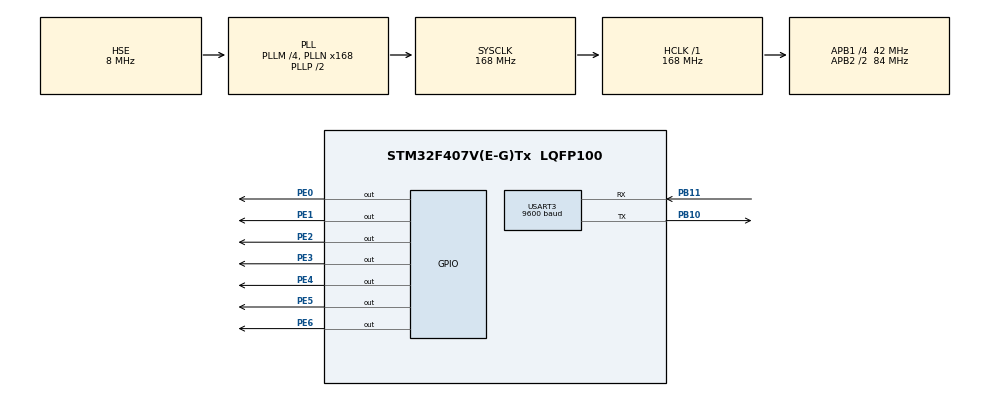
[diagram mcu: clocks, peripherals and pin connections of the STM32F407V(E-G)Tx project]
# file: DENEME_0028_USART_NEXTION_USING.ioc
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Mcu.Family=STM32F4
Mcu.Name=STM32F407V(E-G)Tx
Mcu.Package=LQFP100
NVIC.PriorityGroup=NVIC_PRIORITYGROUP_4
PB10.Mode=Asynchronous
PB10.Signal=USART3_TX
PB11.Mode=Asynchronous
PB11.Signal=USART3_RX
PE0.Signal=GPIO_Output
PE1.Signal=GPIO_Output
PE2.Signal=GPIO_Output
PE3.Signal=GPIO_Output
PE4.Signal=GPIO_Output
PE5.Signal=GPIO_Output
PE6.Signal=GPIO_Output
PH0-OSC_IN.Mode=HSE-External-Oscillator
PH0-OSC_IN.Signal=RCC_OSC_IN
PH1-OSC_OUT.Mode=HSE-External-Oscillator
PH1-OSC_OUT.Signal=RCC_OSC_OUT
ProjectManager.HeapSize=0x200
ProjectManager.StackSize=0x400
ProjectManager.TargetToolchain=STM32CubeIDE
RCC.48MHZClocksFreq_Value=84000000
RCC.AHBFreq_Value=168000000
RCC.APB1CLKDivider=RCC_HCLK_DIV4
RCC.APB1Freq_Value=42000000
RCC.APB1TimFreq_Value=84000000
RCC.APB2CLKDivider=RCC_HCLK_DIV2
RCC.APB2Freq_Value=84000000
RCC.APB2TimFreq_Value=168000000
RCC.CortexFreq_Value=168000000
RCC.HCLKFreq_Value=168000000
RCC.HSE_VALUE=8000000
RCC.HSI_VALUE=16000000
RCC.LSE_VALUE=32768
RCC.PLLM=4
RCC.PLLN=168
RCC.PLLSourceVirtual=RCC_PLLSOURCE_HSE
RCC.SYSCLKFreq_VALUE=168000000
RCC.SYSCLKSource=RCC_SYSCLKSOURCE_PLLCLK
RCC.VCOOutputFreq_Value=336000000
USART3.BaudRate=9600
USART3.VirtualMode=VM_ASYNC
board=custom

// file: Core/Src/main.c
/* USER CODE BEGIN Header */
/**
  ******************************************************************************
  * @file           : main.c
  * @brief          : Main program body
  ******************************************************************************
  * @attention
  *
  * <h2><center>&copy; Copyright (c) 2021 STMicroelectronics.
  * All rights reserved.</center></h2>
  *
  * This software component is licensed by ST under BSD 3-Clause license,
  * the "License"; You may not use this file except in compliance with the
  * License. You may obtain a copy of the License at:
  *                        opensource.org/licenses/BSD-3-Clause
  *
  ******************************************************************************
  */
/* USER CODE END Header */
#include "main.h"

UART_HandleTypeDef huart3;

void SystemClock_Config(void);
static void MX_GPIO_Init(void);
static void MX_USART3_UART_Init(void);
/* USER CODE BEGIN PFP */
char rx_data[50] ;
/* USER CODE END PFP */

/* USER CODE BEGIN 0 */
void getNumber()
{
	  // 7 SEGMENT DISPLAY ( KATOT )
	  if (rx_data[0] == 0x65 && rx_data[1] == 0x00 && rx_data[2] == 0x0B && rx_data[3] == 0x00 && rx_data[4] == 0xFF && rx_data[5] == 0xFF && rx_data[6] == 0xFF) // 0
	  {
		  HAL_GPIO_WritePin(GPIOE, GPIO_PIN_All, GPIO_PIN_RESET);
		  HAL_GPIO_WritePin(GPIOE, GPIO_PIN_0 | GPIO_PIN_1 | GPIO_PIN_2 | GPIO_PIN_3 | GPIO_PIN_4 | GPIO_PIN_5 , GPIO_PIN_SET);
	  }
	  else if (rx_data[0] == 0x65 && rx_data[1] == 0x00 && rx_data[2] == 0x02 && rx_data[3] == 0x00 && rx_data[4] == 0xFF && rx_data[5] == 0xFF && rx_data[6] == 0xFF) // 1
	  {
		  HAL_GPIO_WritePin(GPIOE, GPIO_PIN_All, GPIO_PIN_RESET);
		  HAL_GPIO_WritePin(GPIOE, GPIO_PIN_1 | GPIO_PIN_2 , GPIO_PIN_SET);
	  }
	  else if (rx_data[0] == 0x65 && rx_data[1] == 0x00 && rx_data[2] == 0x04 && rx_data[3] == 0x00 && rx_data[4] == 0xFF && rx_data[5] == 0xFF && rx_data[6] == 0xFF) // 2
	  {
		  HAL_GPIO_WritePin(GPIOE, GPIO_PIN_All, GPIO_PIN_RESET);
		  HAL_GPIO_WritePin(GPIOE, GPIO_PIN_0 | GPIO_PIN_1 | GPIO_PIN_3 | GPIO_PIN_3 | GPIO_PIN_4 | GPIO_PIN_6, GPIO_PIN_SET);
	  }
	  else if (rx_data[0] == 0x65 && rx_data[1] == 0x00 && rx_data[2] == 0x03 && rx_data[3] == 0x00 && rx_data[4] == 0xFF && rx_data[5] == 0xFF && rx_data[6] == 0xFF) // 3
	  {
		  HAL_GPIO_WritePin(GPIOE, GPIO_PIN_All, GPIO_PIN_RESET);
		  HAL_GPIO_WritePin(GPIOE, GPIO_PIN_0 | GPIO_PIN_1 | GPIO_PIN_3 | GPIO_PIN_2 | GPIO_PIN_6, GPIO_PIN_SET);
	  }
	  else if (rx_data[0] == 0x65 && rx_data[1] == 0x00 && rx_data[2] == 0x05 && rx_data[3] == 0x00 && rx_data[4] == 0xFF && rx_data[5] == 0xFF && rx_data[6] == 0xFF) // 4
	  {
		  HAL_GPIO_WritePin(GPIOE, GPIO_PIN_All, GPIO_PIN_RESET);
		  HAL_GPIO_WritePin(GPIOE, GPIO_PIN_1 | GPIO_PIN_2 | GPIO_PIN_5 | GPIO_PIN_6, GPIO_PIN_SET);
	  }
	  else if (rx_data[0] == 0x65 && rx_data[1] == 0x00 && rx_data[2] == 0x06 && rx_data[3] == 0x00 && rx_data[4] == 0xFF && rx_data[5] == 0xFF && rx_data[6] == 0xFF) // 5
	  {
		  HAL_GPIO_WritePin(GPIOE, GPIO_PIN_All, GPIO_PIN_RESET);
		  HAL_GPIO_WritePin(GPIOE, GPIO_PIN_0 | GPIO_PIN_2 | GPIO_PIN_3 | GPIO_PIN_5 | GPIO_PIN_6, GPIO_PIN_SET);
	  }
	  else if (rx_data[0] == 0x65 && rx_data[1] == 0x00 && rx_data[2] == 0x07 && rx_data[3] == 0x00 && rx_data[4] == 0xFF && rx_data[5] == 0xFF && rx_data[6] == 0xFF)// 6
	  {
		  HAL_GPIO_WritePin(GPIOE, GPIO_PIN_All, GPIO_PIN_RESET);
		  HAL_GPIO_WritePin(GPIOE, GPIO_PIN_2 | GPIO_PIN_3 | GPIO_PIN_4 | GPIO_PIN_5 | GPIO_PIN_6 , GPIO_PIN_SET);
	  }
	  else if (rx_data[0] == 0x65 && rx_data[1] == 0x00 && rx_data[2] == 0x08 && rx_data[3] == 0x00 && rx_data[4] == 0xFF && rx_data[5] == 0xFF && rx_data[6] == 0xFF)// 7
	  {
		  HAL_GPIO_WritePin(GPIOE, GPIO_PIN_All, GPIO_PIN_RESET);
		  HAL_GPIO_WritePin(GPIOE, GPIO_PIN_0 | GPIO_PIN_1 | GPIO_PIN_2 , GPIO_PIN_SET);
	  }
	  else if (rx_data[0] == 0x65 && rx_data[1] == 0x00 && rx_data[2] == 0x09 && rx_data[3] == 0x00 && rx_data[4] == 0xFF && rx_data[5] == 0xFF && rx_data[6] == 0xFF)// 8
	  {
		  HAL_GPIO_WritePin(GPIOE, GPIO_PIN_All, GPIO_PIN_RESET);
		  HAL_GPIO_WritePin(GPIOE, GPIO_PIN_All, GPIO_PIN_SET);
	  }
	  else if (rx_data[0] == 0x65 && rx_data[1] == 0x00 && rx_data[2] == 0x0A && rx_data[3] == 0x00 && rx_data[4] == 0xFF && rx_data[5] == 0xFF && rx_data[6] == 0xFF)// 9
	  {
		  HAL_GPIO_WritePin(GPIOE, GPIO_PIN_All, GPIO_PIN_RESET);
		  HAL_GPIO_WritePin(GPIOE, GPIO_PIN_0 | GPIO_PIN_1 | GPIO_PIN_2 | GPIO_PIN_5 | GPIO_PIN_6, GPIO_PIN_SET);
	  }
	  else {
		  HAL_GPIO_WritePin(GPIOE, GPIO_PIN_All , GPIO_PIN_RESET);
	  }
}
/* USER CODE END 0 */

int main(void)
{

  /* MCU Configuration--------------------------------------------------------*/

  /* Reset of all peripherals, Initializes the Flash interface and the Systick. */
  HAL_Init();

  /* Configure the system clock */
  SystemClock_Config();

  /* Initialize all configured peripherals */
  MX_GPIO_Init();
  MX_USART3_UART_Init();

  /* Infinite loop */
  while (1)
  {

    /* USER CODE BEGIN 3 */

	  // Link of project video --------> https://drive.google.com/file/d/1tkg9Ut0PWSd8TK31RaCPFwkLmdYy4_2K/view?usp=sharing

	  HAL_UART_Receive(&huart3, (uint8_t*)rx_data, 50, 100);

	  getNumber();

  }
  /* USER CODE END 3 */
}

void SystemClock_Config(void)
{
  RCC_OscInitTypeDef RCC_OscInitStruct = {0};
  RCC_ClkInitTypeDef RCC_ClkInitStruct = {0};

  /** Configure the main internal regulator output voltage
  */
  __HAL_RCC_PWR_CLK_ENABLE();
  __HAL_PWR_VOLTAGESCALING_CONFIG(PWR_REGULATOR_VOLTAGE_SCALE1);
  /** Initializes the RCC Oscillators according to the specified parameters
  * in the RCC_OscInitTypeDef structure.
  */
  RCC_OscInitStruct.OscillatorType = RCC_OSCILLATORTYPE_HSE;
  RCC_OscInitStruct.HSEState = RCC_HSE_ON;
  RCC_OscInitStruct.PLL.PLLState = RCC_PLL_ON;
  RCC_OscInitStruct.PLL.PLLSource = RCC_PLLSOURCE_HSE;
  RCC_OscInitStruct.PLL.PLLM = 4;
  RCC_OscInitStruct.PLL.PLLN = 168;
  RCC_OscInitStruct.PLL.PLLP = RCC_PLLP_DIV2;
  RCC_OscInitStruct.PLL.PLLQ = 4;
  if (HAL_RCC_OscConfig(&RCC_OscInitStruct) != HAL_OK)
  {
    Error_Handler();
  }
  /** Initializes the CPU, AHB and APB buses clocks
  */
  RCC_ClkInitStruct.ClockType = RCC_CLOCKTYPE_HCLK|RCC_CLOCKTYPE_SYSCLK
                              |RCC_CLOCKTYPE_PCLK1|RCC_CLOCKTYPE_PCLK2;
  RCC_ClkInitStruct.SYSCLKSource = RCC_SYSCLKSOURCE_PLLCLK;
  RCC_ClkInitStruct.AHBCLKDivider = RCC_SYSCLK_DIV1;
  RCC_ClkInitStruct.APB1CLKDivider = RCC_HCLK_DIV4;
  RCC_ClkInitStruct.APB2CLKDivider = RCC_HCLK_DIV2;

  if (HAL_RCC_ClockConfig(&RCC_ClkInitStruct, FLASH_LATENCY_5) != HAL_OK)
  {
    Error_Handler();
  }
}

static void MX_USART3_UART_Init(void)
{

  huart3.Instance = USART3;
  huart3.Init.BaudRate = 9600;
  huart3.Init.WordLength = UART_WORDLENGTH_8B;
  huart3.Init.StopBits = UART_STOPBITS_1;
  huart3.Init.Parity = UART_PARITY_NONE;
  huart3.Init.Mode = UART_MODE_TX_RX;
  huart3.Init.HwFlowCtl = UART_HWCONTROL_NONE;
  huart3.Init.OverSampling = UART_OVERSAMPLING_16;
  if (HAL_UART_Init(&huart3) != HAL_OK)
  {
    Error_Handler();
  }

}

static void MX_GPIO_Init(void)
{
  GPIO_InitTypeDef GPIO_InitStruct = {0};

  /* GPIO Ports Clock Enable */
  __HAL_RCC_GPIOE_CLK_ENABLE();
  __HAL_RCC_GPIOH_CLK_ENABLE();
  __HAL_RCC_GPIOB_CLK_ENABLE();

  /*Configure GPIO pin Output Level */
  HAL_GPIO_WritePin(GPIOE, GPIO_PIN_2|GPIO_PIN_3|GPIO_PIN_4|GPIO_PIN_5
                          |GPIO_PIN_6|GPIO_PIN_0|GPIO_PIN_1, GPIO_PIN_RESET);

  /*Configure GPIO pins : PE2 PE3 PE4 PE5
                           PE6 PE0 PE1 */
  GPIO_InitStruct.Pin = GPIO_PIN_2|GPIO_PIN_3|GPIO_PIN_4|GPIO_PIN_5
                          |GPIO_PIN_6|GPIO_PIN_0|GPIO_PIN_1;
  GPIO_InitStruct.Mode = GPIO_MODE_OUTPUT_PP;
  GPIO_InitStruct.Pull = GPIO_NOPULL;
  GPIO_InitStruct.Speed = GPIO_SPEED_FREQ_LOW;
  HAL_GPIO_Init(GPIOE, &GPIO_InitStruct);

}

void Error_Handler(void)
{
  __disable_irq();
  while (1)
  {
  }
}

/************************ (C) COPYRIGHT STMicroelectronics *****END OF FILE****/
